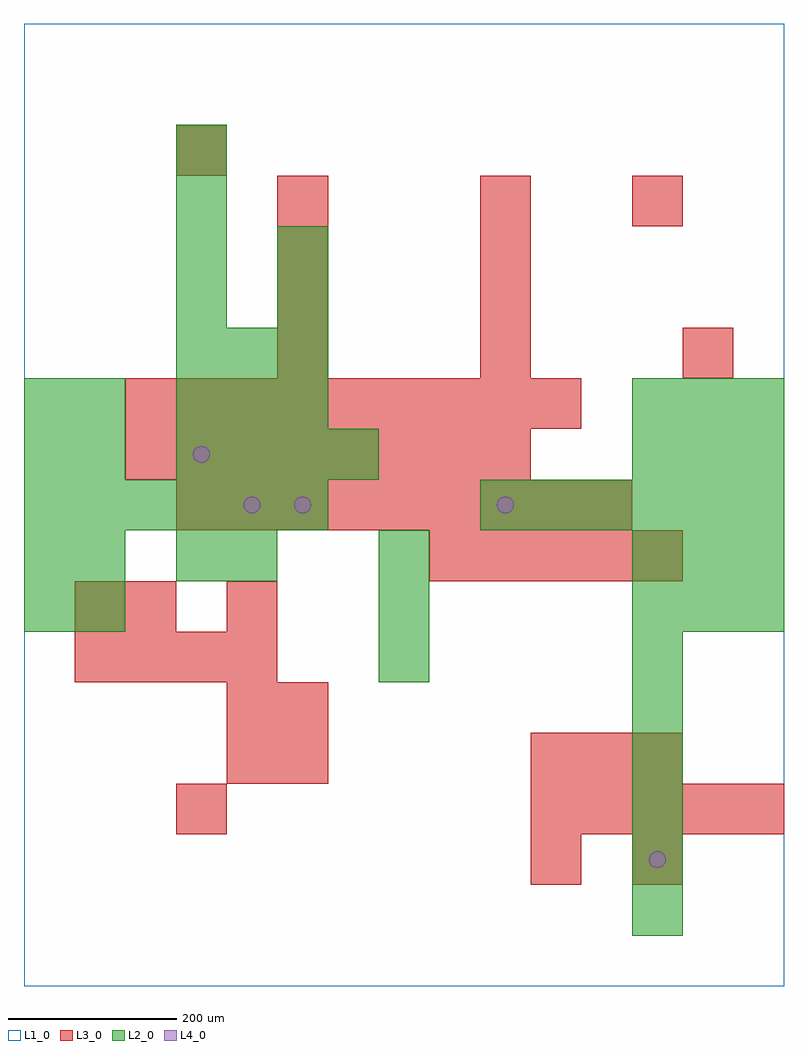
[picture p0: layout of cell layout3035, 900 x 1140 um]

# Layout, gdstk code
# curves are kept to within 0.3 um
import gdstk
lib = gdstk.Library(unit=1e-6, precision=1e-09)
def R(c, l, rs):  # rectangles x0, y0, x1, y1
    for r in rs: c.add(gdstk.rectangle(r[:2], r[2:], *l))
def A(c, l, x, y, w, h, nx, ny, dx, dy):  # array of equal rectangles
    R(c, l, [(x+i*dx, y+j*dy, x+i*dx+w, y+j*dy+h) for i in range(nx) for j in range(ny)])
def P(c, l, *ps):  # polygons
    for p in ps: c.add(gdstk.Polygon(p, *l))
L1_0 = (1, 0)
L2_0 = (2, 0)
L3_0 = (3, 0)
L4_0 = (4, 0)

layout3035 = lib.new_cell('layout3035')
R(layout3035, L1_0, [(0,0,900,1140)])
A(layout3035, L2_0, 720, 60, 60, 60, 1, 6, 0, 60)
A(layout3035, L2_0, 420, 360, 60, 60, 1, 3, 0, 60)
A(layout3035, L2_0, 720, 420, 60, 60, 3, 2, 60, 60)
A(layout3035, L2_0, 0, 540, 60, 60, 6, 1, 60, 0)
A(layout3035, L2_0, 540, 540, 60, 60, 6, 1, 60, 0)
A(layout3035, L2_0, 180, 600, 60, 60, 4, 1, 60, 0)
A(layout3035, L2_0, 720, 600, 60, 60, 3, 2, 60, 60)
A(layout3035, L2_0, 180, 660, 60, 60, 3, 2, 60, 60)
A(layout3035, L2_0, 180, 780, 60, 60, 1, 4, 0, 60)
R(layout3035, L2_0, [(0,420,60,480), (60,420,120,480), (0,480,60,540), (60,480,120,540), (180,480,240,540), (240,480,300,540), (0,600,60,660), (60,600,120,660), (0,660,60,720), (60,660,120,720), (300,780,360,840), (300,840,360,900)])
A(layout3035, L3_0, 600, 180, 60, 60, 5, 1, 60, 0)
A(layout3035, L3_0, 600, 240, 60, 60, 3, 1, 60, 0)
A(layout3035, L3_0, 60, 360, 60, 60, 4, 1, 60, 0)
A(layout3035, L3_0, 480, 480, 60, 60, 5, 1, 60, 0)
A(layout3035, L3_0, 180, 540, 60, 60, 9, 1, 60, 0)
A(layout3035, L3_0, 120, 600, 60, 60, 8, 1, 60, 0)
A(layout3035, L3_0, 120, 660, 60, 60, 9, 1, 60, 0)
A(layout3035, L3_0, 300, 720, 60, 60, 3, 1, 240, 0)
A(layout3035, L3_0, 300, 780, 60, 60, 1, 3, 0, 60)
A(layout3035, L3_0, 540, 780, 60, 60, 1, 3, 0, 60)
R(layout3035, L3_0, [(600,120,660,180), (720,120,780,180), (180,180,240,240), (240,240,300,300), (300,240,360,300), (240,300,300,360), (300,300,360,360), (60,420,120,480), (120,420,180,480), (240,420,300,480), (720,900,780,960), (180,960,240,1020)])
P(layout3035, L4_0, [(220,630),(219.239,633.827),(217.071,637.071),(213.827,639.239),(210,640),(206.173,639.239),(202.929,637.071),(200.761,633.827),(200,630),(200.761,626.173),(202.929,622.929),(206.173,620.761),(210,620),(213.827,620.761),(217.071,622.929),(219.239,626.173)],
  [(280,570),(279.239,573.827),(277.071,577.071),(273.827,579.239),(270,580),(266.173,579.239),(262.929,577.071),(260.761,573.827),(260,570),(260.761,566.173),(262.929,562.929),(266.173,560.761),(270,560),(273.827,560.761),(277.071,562.929),(279.239,566.173)],
  [(340,570),(339.239,573.827),(337.071,577.071),(333.827,579.239),(330,580),(326.173,579.239),(322.929,577.071),(320.761,573.827),(320,570),(320.761,566.173),(322.929,562.929),(326.173,560.761),(330,560),(333.827,560.761),(337.071,562.929),(339.239,566.173)],
  [(580,570),(579.239,573.827),(577.071,577.071),(573.827,579.239),(570,580),(566.173,579.239),(562.929,577.071),(560.761,573.827),(560,570),(560.761,566.173),(562.929,562.929),(566.173,560.761),(570,560),(573.827,560.761),(577.071,562.929),(579.239,566.173)],
  [(760,150),(759.239,153.827),(757.071,157.071),(753.827,159.239),(750,160),(746.173,159.239),(742.929,157.071),(740.761,153.827),(740,150),(740.761,146.173),(742.929,142.929),(746.173,140.761),(750,140),(753.827,140.761),(757.071,142.929),(759.239,146.173)])

lib.write_gds('layout3035.gds')
